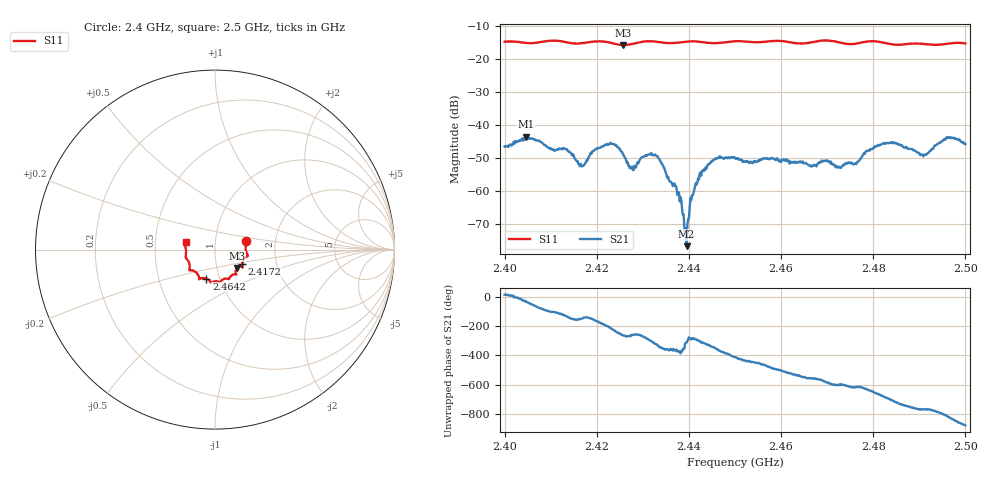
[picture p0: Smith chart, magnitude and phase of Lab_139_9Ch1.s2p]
# Hz S RI R 50
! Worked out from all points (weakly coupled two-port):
!   601 points, 2.4 GHz to 2.5 GHz, reference 50 ohm
!   highest |S21| = -43.70 dB at 2.4047 GHz (marker M1); lowest = -76.8 dB at 2.4395 GHz (marker M2)
!   lowest |S11| = -15.9 dB at 2.4257 GHz (marker M3), VSWR 1.38, Z = 62.5 - j13.1 ohm
!   |S11| at or under -10 dB: start of sweep to end of sweep
!   S12 and S22 are empty: the file has one direction only
!   S11 on the Smith chart (normalised r, x): 2.4 GHz: 1.41, +0.14; 2.4172 GHz: 1.34, -0.22; 2.4642 GHz: 0.86, -0.29; 2.5 GHz: 0.72, +0.06
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2.4e9  0.1731 0.0486  0.0045 0.00115  0 0  0 0
2.404667e9  0.171 0.0171  0.00557 -0.00341  0 0  0 0
2.413167e9  0.1727 -0.042  -0.00271 -0.00335  0 0  0 0
2.416667e9  0.1529 -0.0743  -0.002 -0.00118  0 0  0 0
2.417167e9  0.1521 -0.08  -0.0019 -0.0015  0 0  0 0
2.422167e9  0.1506 -0.0953  -0.00466 0.00172  0 0  0 0
2.425667e9  0.1228 -0.1022  -0.000407 0.00353  0 0  0 0
2.4275e9  0.1151 -0.1186  -0.000293 0.00216  0 0  0 0
2.433333e9  0.1128 -0.1373  0.00285 0.00134  0 0  0 0
2.437333e9  0.0853 -0.1505  0.00106 -1.83e-05  0 0  0 0
2.4395e9  0.0793 -0.1618  9.82e-05 0.000105  0 0  0 0
2.440833e9  0.0777 -0.1651  0.000187 0.000828  0 0  0 0
2.442833e9  0.0706 -0.1629  0.00131 0.00149  0 0  0 0
2.446167e9  0.0461 -0.1653  0.00307 0.000107  0 0  0 0
2.45e9  0.0287 -0.1808  0.00189 -0.00254  0 0  0 0
2.464167e9  -0.0483 -0.1617  -0.00276 0.000166  0 0  0 0
2.466667e9  -0.0761 -0.159  -0.0023 0.000697  0 0  0 0
2.476e9  -0.116 -0.1195  -0.000423 0.00251  0 0  0 0
2.483333e9  -0.1411 -0.0901  0.00476 0.00208  0 0  0 0
2.490667e9  -0.1628 -0.0363  0.00228 -0.00266  0 0  0 0
2.496167e9  -0.1667 0.021  -0.00113 -0.00635  0 0  0 0
2.5e9  -0.164 0.0426  -0.00475 -0.00174  0 0  0 0
